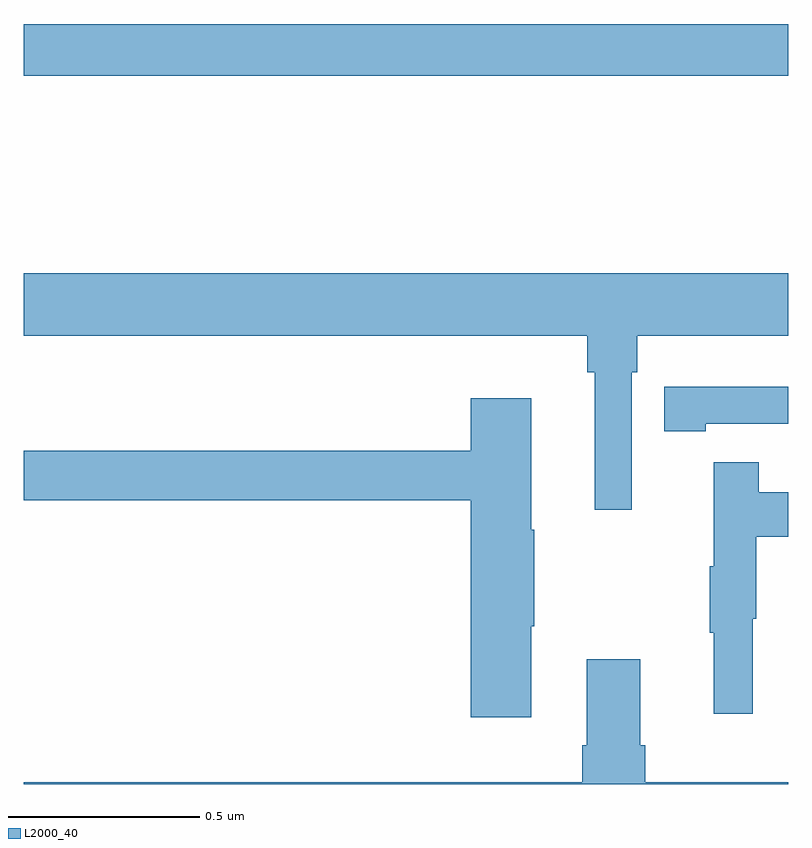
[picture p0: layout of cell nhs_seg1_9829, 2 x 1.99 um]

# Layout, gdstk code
import gdstk
lib = gdstk.Library(unit=1e-6, precision=1e-09)
def R(c, l, rs):  # rectangles x0, y0, x1, y1
    for r in rs: c.add(gdstk.rectangle(r[:2], r[2:], *l))
def P(c, l, *ps):  # polygons
    for p in ps: c.add(gdstk.Polygon(p, *l))
L2000_40 = (2000, 40)

nhs_seg1_9829 = lib.new_cell('nhs_seg1_9829')
R(nhs_seg1_9829, L2000_40, [(233,579.052,235,579.188)])
P(nhs_seg1_9829, L2000_40, [(234.591,578.276),(234.605,578.276),(234.605,578.372),(235,578.372),(235,578.536),(233,578.536),(233,578.372),(234.475,578.372),(234.475,578.276),(234.494,578.276),(234.494,577.917),(234.591,577.917)],
  [(234.784,578.142),(235,578.142),(235,578.239),(234.784,578.239),(234.784,578.238),(234.676,578.238),(234.676,578.122),(234.784,578.122)],
  [(234.328,577.612),(234.336,577.612),(234.336,577.865),(234.328,577.865),(234.328,578.209),(234.17,578.209),(234.17,578.071),(233,578.071),(233,577.942),(234.17,577.942),(234.17,577.374),(234.328,577.374)],
  [(234.908,577.632),(234.916,577.632),(234.916,577.846),(235,577.846),(235,577.962),(234.923,577.962),(234.923,578.041),(234.806,578.041),(234.806,577.769),(234.795,577.769),(234.795,577.595),(234.806,577.595),(234.806,577.383),(234.908,577.383)],
  [(235,577.204),(234.626,577.204),(234.626,577.3),(234.613,577.3),(234.613,577.525),(234.473,577.525),(234.473,577.3),(234.461,577.3),(234.461,577.204),(233,577.204),(233,577.199),(235,577.199)])

lib.write_gds('nhs_seg1_9829.gds')
